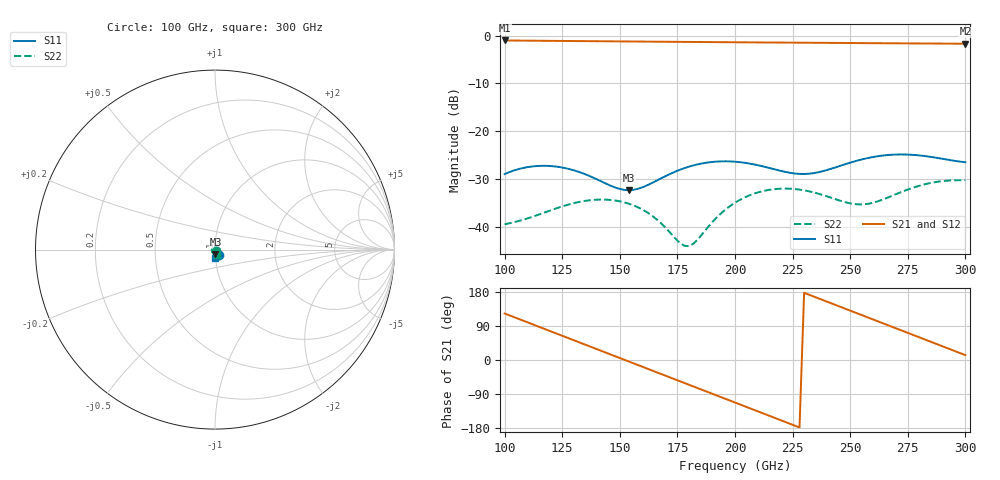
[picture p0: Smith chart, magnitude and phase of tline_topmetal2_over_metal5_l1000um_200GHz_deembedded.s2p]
! Created with skrf 2.0.1 (http://scikit-rf.org).
# GHz S DB R 50.0
!freq dBS11 angS11 dBS21 angS21 dBS12 angS12 dBS22 angS22
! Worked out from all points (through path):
!   101 points, 100 GHz to 300 GHz, reference 50 ohm
!   highest |S21| = -1.03 dB at 100 GHz (marker M1); lowest = -1.7 dB at 300 GHz (marker M2)
!   group delay of S21, straight-line fit = 6.53 ps
!   lowest |S11| = -32.4 dB at 154 GHz (marker M3), VSWR 1.05, Z = 50.2 - j2.4 ohm
!   |S11| at or under -10 dB: start of sweep to end of sweep
!   |S22| runs from -44.1 to -30.3 dB; largest |S21 - S12| = 1.5e-12
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100  -29.00 -54.5  -1.03 122.7  -1.03 122.7  -39.50 -41.5
108  -27.72 -65.6  -1.06 103.9  -1.06 103.9  -38.56 -36.6
116  -27.27 -77.3  -1.10 85.1  -1.10 85.1  -37.28 -35.4
124  -27.54 -88.0  -1.13 66.3  -1.13 66.3  -35.92 -39.5
134  -28.85 -97.7  -1.17 42.8  -1.17 42.8  -34.68 -51.7
144  -30.99 -98.2  -1.21 19.3  -1.21 19.3  -34.35 -70.0
154  -32.37 -83.5  -1.24 -4.2  -1.24 -4.2  -35.21 -93.6
168  -29.86 -66.0  -1.30 -37.1  -1.30 -37.1  -39.33 -140.7
176  -28.11 -67.6  -1.33 -55.9  -1.33 -55.9  -43.37 168.1
180  -27.45 -70.2  -1.34 -65.3  -1.34 -65.3  -44.09 128.5
190  -26.46 -78.9  -1.38 -88.8  -1.38 -88.8  -39.13 52.1
200  -26.41 -87.8  -1.41 -112.2  -1.41 -112.2  -34.99 10.5
218  -28.11 -94.1  -1.47 -154.5  -1.47 -154.5  -32.11 -50.5
226  -28.88 -88.9  -1.49 -173.3  -1.49 -173.3  -32.13 -78.4
234  -28.81 -80.5  -1.52 167.9  -1.52 167.9  -32.82 -109.0
242  -27.84 -74.4  -1.54 149.1  -1.54 149.1  -33.99 -144.5
252  -26.32 -73.8  -1.57 125.6  -1.57 125.6  -35.28 160.6
260  -25.42 -77.3  -1.60 106.8  -1.60 106.8  -34.99 111.8
268  -24.95 -82.3  -1.63 88.0  -1.63 88.0  -33.58 67.6
282  -25.20 -90.1  -1.67 55.1  -1.67 55.1  -31.18 4.7
292  -25.96 -91.2  -1.69 31.6  -1.69 31.6  -30.38 -35.4
300  -26.51 -87.9  -1.71 12.8  -1.71 12.8  -30.32 -67.6
